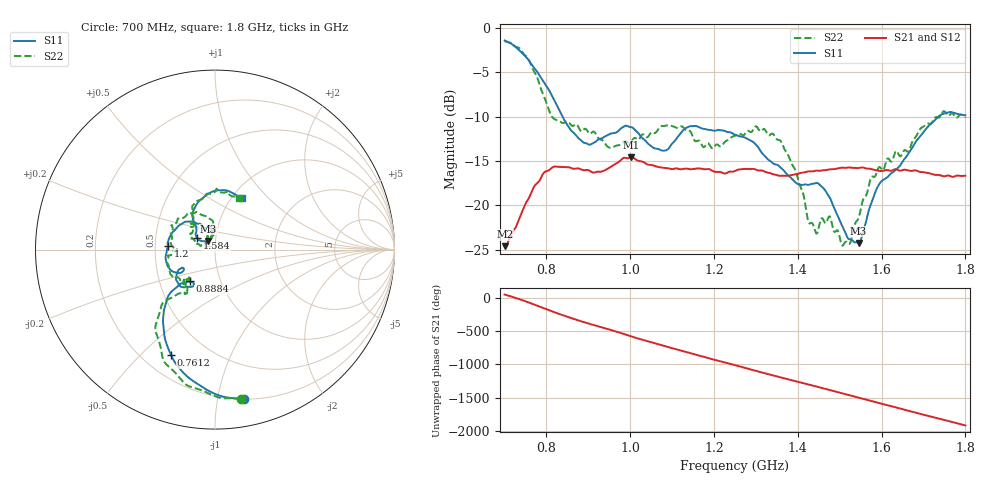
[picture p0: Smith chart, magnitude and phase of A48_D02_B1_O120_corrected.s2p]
! Created with skrf 1.9.0 (http://scikit-rf.org).
# Hz S RI R 50.0
!freq ReS11 ImS11 ReS21 ImS21 ReS12 ImS12 ReS22 ImS22
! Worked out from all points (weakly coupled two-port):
!   1601 points, 700 MHz to 1.8 GHz, reference 50 ohm
!   highest |S21| = -14.57 dB at 1.002 GHz (marker M1); lowest = -24.6 dB at 700.7 MHz (marker M2)
!   lowest |S11| = -24.2 dB at 1.545 GHz (marker M3), VSWR 1.13, Z = 46.2 + j4.52 ohm
!   |S11| at or under -10 dB: 838.4 MHz to 1.735 GHz (896.6 MHz wide, 69.7 % of centre)
!   |S22| runs from -24.5 to -1.5 dB; largest |S21 - S12| = 0.0034
!   S11 on the Smith chart (normalised r, x): 700 MHz: 0.20, -1.19; 761.2 MHz: 0.31, -0.62; 888.4 MHz: 0.71, -0.26; 1.2 GHz: 0.58, +0.03; 1.584 GHz: 0.81, +0.10; 1.8 GHz: 1.11, +0.71
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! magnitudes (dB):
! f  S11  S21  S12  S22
! 700 MHz  -1.4  -24.6  -24.4  -1.5
! 700.7 MHz  -1.4  -24.6  -24.3  -1.5
! 761.2 MHz  -3.9  -18.9  -18.8  -3.9
! 814.1 MHz  -7.7  -15.7  -15.8  -10.1
! 883.6 MHz  -12.7  -16.0  -15.9  -11.7
! 888.4 MHz  -12.9  -16.0  -15.9  -11.5
! 950.9 MHz  -11.9  -15.7  -15.7  -13.5
! 1.002 GHz  -11.2  -14.6  -14.7  -12.8
! 1.067 GHz  -13.6  -15.7  -15.6  -11.4
! 1.14 GHz  -11.1  -15.9  -15.9  -11.6
! 1.2 GHz  -11.6  -16.2  -16.1  -13.4
! 1.25 GHz  -12.0  -16.1  -16.0  -12.2
! 1.301 GHz  -13.2  -16.0  -15.9  -11.1
! 1.359 GHz  -15.7  -16.7  -16.6  -12.7
! 1.434 GHz  -17.6  -16.2  -16.1  -22.0
! 1.476 GHz  -19.1  -15.9  -16.0  -21.2
! 1.508 GHz  -22.5  -15.8  -15.7  -24.5
! 1.545 GHz  -24.2  -15.8  -15.7  -21.4
! 1.584 GHz  -18.6  -16.0  -16.0  -16.7
! 1.617 GHz  -16.7  -16.1  -16.0  -14.8
! 1.737 GHz  -9.9  -16.6  -16.6  -10.1
! 1.8 GHz  -9.9  -16.6  -16.6  -10.0
